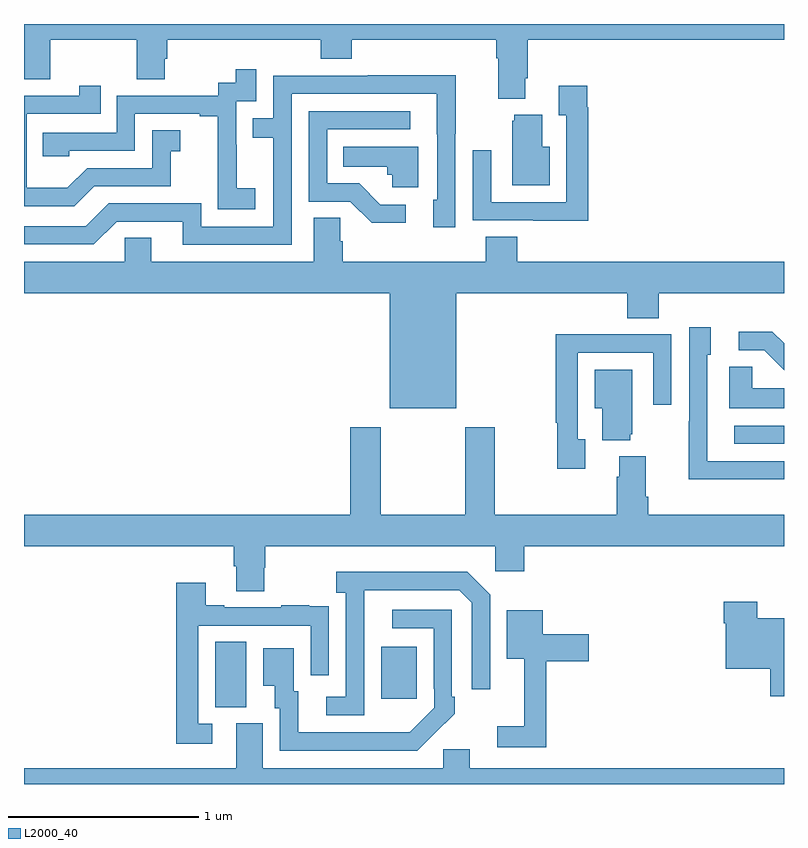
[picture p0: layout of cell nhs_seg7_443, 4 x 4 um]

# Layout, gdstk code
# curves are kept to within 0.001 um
import gdstk
lib = gdstk.Library(unit=1e-6, precision=1e-09)
def R(c, l, rs):  # rectangles x0, y0, x1, y1
    for r in rs: c.add(gdstk.rectangle(r[:2], r[2:], *l))
def P(c, l, *ps):  # polygons
    for p in ps: c.add(gdstk.Polygon(p, *l))
L2000_40 = (2000, 40)

nhs_seg7_443 = lib.new_cell('nhs_seg7_443')
R(nhs_seg7_443, L2000_40, [(146.006,1030.405,146.17,1030.748), (146.879,1030.449,147.067,1030.723), (148.737,1031.79,149,1031.886)])
P(nhs_seg7_443, L2000_40, [(145,1033.708),(145.137,1033.708),(145.137,1033.916),(145.594,1033.916),(145.594,1033.708),(145.741,1033.708),(145.741,1033.818),(145.754,1033.818),(145.754,1033.916),(146.561,1033.916),(146.561,1033.817),(146.726,1033.817),(146.726,1033.916),(147.485,1033.916),(147.485,1033.82),(147.497,1033.82),(147.497,1033.607),(147.637,1033.607),(147.637,1033.714),(147.65,1033.714),(147.65,1033.916),(149,1033.916),(149,1034),(145,1034)],
  [(146.218,1033.135),(146.12,1033.135),(146.12,1033.364),(146.118,1033.364),(146.118,1033.593),(146.223,1033.593),(146.223,1033.762),(146.115,1033.762),(146.115,1033.692),(146.022,1033.692),(146.022,1033.623),(145.488,1033.623),(145.488,1033.428),(145.099,1033.428),(145.099,1033.305),(145.239,1033.305),(145.239,1033.332),(145.584,1033.332),(145.584,1033.527),(145.925,1033.527),(145.925,1033.515),(146.021,1033.515),(146.021,1033.231),(146.02,1033.231),(146.02,1033.025),(146.218,1033.025)],
  [(146.409,1033.632),(147.173,1033.632),(147.174,1033.074),(147.155,1033.074),(147.155,1032.93),(147.27,1032.93),(147.27,1033.423),(147.273,1033.423),(147.273,1033.73),(146.809,1033.73),(146.809,1033.728),(146.313,1033.728),(146.313,1033.503),(146.203,1033.503),(146.203,1033.402),(146.313,1033.402),(146.313,1032.933),(145.932,1032.933),(145.932,1033.056),(145.446,1033.056),(145.326,1032.936),(145,1032.936),(145,1032.84),(145.368,1032.84),(145.488,1032.96),(145.835,1032.96),(145.835,1032.837),(146.409,1032.837)],
  [(145.369,1033.146),(145.773,1033.146),(145.773,1033.331),(145.822,1033.331),(145.822,1033.441),(145.674,1033.441),(145.674,1033.242),(145.332,1033.242),(145.228,1033.138),(145.014,1033.138),(145.014,1033.527),(145.403,1033.527),(145.403,1033.675),(145.292,1033.675),(145.292,1033.623),(145,1033.623),(145,1033.041),(145.264,1033.041)],
  [(147.971,1033.562),(147.964,1033.562),(147.964,1033.675),(147.815,1033.675),(147.815,1033.519),(147.855,1033.519),(147.855,1033.062),(147.459,1033.062),(147.459,1033.336),(147.363,1033.336),(147.363,1032.966),(147.679,1032.966),(147.679,1032.965),(147.971,1032.965)],
  [(147.01,1033.05),(146.875,1033.05),(146.764,1033.161),(146.595,1033.161),(146.595,1033.446),(147.034,1033.446),(147.034,1033.542),(146.499,1033.542),(146.499,1033.065),(146.718,1033.065),(146.831,1032.953),(147.01,1032.953)],
  [(147.766,1033.354),(147.727,1033.354),(147.727,1033.522),(147.581,1033.522),(147.581,1033.491),(147.569,1033.491),(147.569,1033.151),(147.766,1033.151)],
  [(147.076,1033.354),(146.68,1033.354),(146.68,1033.25),(146.911,1033.25),(146.911,1033.206),(146.937,1033.206),(146.937,1033.142),(147.076,1033.142)],
  [(147.274,1032.584),(148.175,1032.584),(148.175,1032.451),(148.34,1032.451),(148.34,1032.584),(149,1032.584),(149,1032.748),(147.596,1032.748),(147.596,1032.881),(147.431,1032.881),(147.431,1032.748),(146.678,1032.748),(146.678,1032.857),(146.664,1032.857),(146.664,1032.98),(146.525,1032.98),(146.525,1032.748),(145.669,1032.748),(145.669,1032.875),(145.53,1032.875),(145.53,1032.748),(145,1032.748),(145,1032.584),(146.924,1032.584),(146.924,1031.978),(147.274,1031.978)],
  [(148.961,1031.604),(149,1031.604),(149,1031.7),(148.596,1031.7),(148.596,1032.258),(148.615,1032.258),(148.615,1032.403),(148.5,1032.403),(148.5,1031.909),(148.498,1031.909),(148.498,1031.603),(148.961,1031.603)],
  [(149,1032.319),(148.939,1032.38),(148.761,1032.38),(148.761,1032.282),(148.895,1032.282),(149,1032.177)],
  [(147.955,1031.814),(147.915,1031.814),(147.915,1032.27),(148.311,1032.27),(148.311,1031.997),(148.407,1031.997),(148.407,1032.366),(148.091,1032.366),(148.091,1032.368),(147.799,1032.368),(147.799,1031.902),(147.807,1031.902),(147.807,1031.658),(147.955,1031.658)],
  [(149,1032.082),(148.833,1032.082),(148.833,1032.197),(148.712,1032.197),(148.712,1031.978),(149,1031.978)],
  [(148.19,1031.841),(148.201,1031.841),(148.201,1032.181),(148.004,1032.181),(148.004,1031.978),(148.043,1031.978),(148.043,1031.81),(148.19,1031.81)],
  [(146.265,1031.139),(146.27,1031.139),(146.27,1031.252),(147.48,1031.252),(147.48,1031.121),(147.632,1031.121),(147.632,1031.252),(149,1031.252),(149,1031.416),(148.286,1031.416),(148.286,1031.512),(148.273,1031.512),(148.273,1031.725),(148.133,1031.725),(148.133,1031.618),(148.121,1031.618),(148.121,1031.416),(147.477,1031.416),(147.477,1031.878),(147.322,1031.878),(147.322,1031.416),(146.877,1031.416),(146.877,1031.878),(146.717,1031.878),(146.717,1031.416),(145,1031.416),(145,1031.252),(146.105,1031.252),(146.105,1031.146),(146.117,1031.146),(146.117,1031.014),(146.265,1031.014)],
  [(146.79,1030.819),(146.791,1031.019),(147.291,1031.019),(147.357,1030.953),(147.357,1030.5),(147.453,1030.5),(147.453,1030.995),(147.332,1031.116),(146.643,1031.116),(146.643,1031.006),(146.694,1031.006),(146.694,1030.458),(146.592,1030.458),(146.592,1030.362),(146.79,1030.362)],
  [(145.99,1030.317),(145.917,1030.317),(145.917,1030.833),(146.508,1030.833),(146.508,1030.572),(146.604,1030.572),(146.604,1030.826),(146.603,1030.826),(146.603,1030.935),(146.501,1030.935),(146.501,1030.942),(146.353,1030.942),(146.353,1030.929),(146.053,1030.929),(146.053,1030.942),(145.957,1030.942),(145.957,1031.059),(145.801,1031.059),(145.801,1030.212),(145.99,1030.212)],
  [(149,1030.873),(148.86,1030.873),(148.86,1030.96),(148.682,1030.96),(148.682,1030.847),(148.694,1030.847),(148.694,1030.607),(148.928,1030.607),(148.928,1030.463),(149,1030.463)],
  [(147.161,1030.267),(147.162,1030.266),(147.267,1030.371),(147.267,1030.459),(147.252,1030.459),(147.252,1030.917),(146.937,1030.917),(146.937,1030.821),(147.156,1030.821),(147.156,1030.501),(147.159,1030.501),(147.159,1030.401),(147.031,1030.273),(146.443,1030.272),(146.443,1030.488),(146.419,1030.488),(146.419,1030.714),(146.258,1030.714),(146.258,1030.517),(146.321,1030.517),(146.321,1030.398),(146.346,1030.398),(146.346,1030.176),(147.07,1030.176)],
  [(147.749,1030.646),(147.973,1030.646),(147.973,1030.788),(147.73,1030.788),(147.73,1030.915),(147.542,1030.915),(147.542,1030.658),(147.632,1030.658),(147.632,1030.303),(147.492,1030.303),(147.492,1030.194),(147.749,1030.194)],
  [(149,1030.084),(147.346,1030.084),(147.346,1030.182),(147.207,1030.182),(147.207,1030.084),(146.257,1030.084),(146.257,1030.32),(146.117,1030.32),(146.117,1030.084),(145,1030.084),(145,1030),(149,1030)])

lib.write_gds('nhs_seg7_443.gds')
